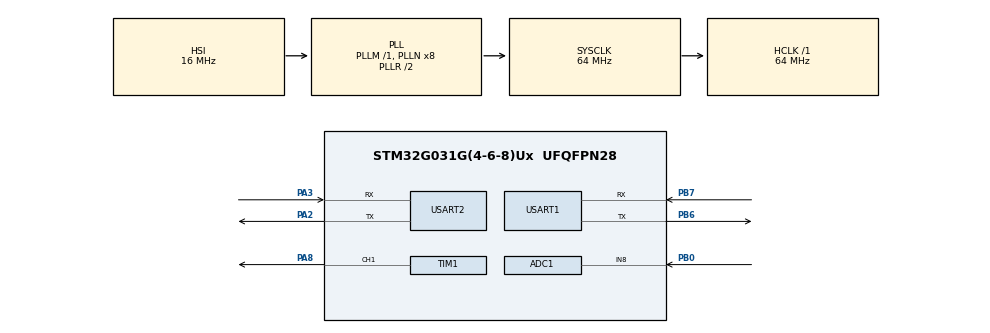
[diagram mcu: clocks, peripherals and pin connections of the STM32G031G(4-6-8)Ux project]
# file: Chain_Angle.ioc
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ADC1.Channel-0\#ChannelRegularConversion=ADC_CHANNEL_8
ADC1.ContinuousConvMode=ENABLE
ADC1.NbrOfConversion=1
ADC1.NbrOfConversionFlag=1
ADC1.Rank-0\#ChannelRegularConversion=1
ADC1.SamplingTime-0\#ChannelRegularConversion=ADC_SAMPLINGTIME_COMMON_1
ADC1.SamplingTimeCommon1=ADC_SAMPLETIME_39CYCLES_5
ADC1.SamplingTimeCommon2=ADC_SAMPLETIME_39CYCLES_5
ADC1.SelectedChannel=ADC_CHANNEL_8
ADC1.master=1
Dma.Request0=USART1_RX
Dma.Request1=USART1_TX
Dma.Request2=USART2_RX
Dma.Request3=USART2_TX
Dma.Request4=TIM1_CH1
Dma.TIM1_CH1.4.Direction=DMA_MEMORY_TO_PERIPH
Dma.TIM1_CH1.4.EventEnable=DISABLE
Dma.TIM1_CH1.4.Instance=DMA1_Channel5
Dma.TIM1_CH1.4.MemDataAlignment=DMA_MDATAALIGN_BYTE
Dma.TIM1_CH1.4.MemInc=DMA_MINC_ENABLE
Dma.TIM1_CH1.4.Mode=DMA_NORMAL
Dma.TIM1_CH1.4.PeriphDataAlignment=DMA_PDATAALIGN_HALFWORD
Dma.TIM1_CH1.4.PeriphInc=DMA_PINC_DISABLE
Dma.TIM1_CH1.4.Polarity=HAL_DMAMUX_REQ_GEN_RISING
Dma.TIM1_CH1.4.Priority=DMA_PRIORITY_LOW
Dma.TIM1_CH1.4.RequestNumber=1
Dma.TIM1_CH1.4.SignalID=NONE
Dma.TIM1_CH1.4.SyncEnable=DISABLE
Dma.TIM1_CH1.4.SyncPolarity=HAL_DMAMUX_SYNC_NO_EVENT
Dma.TIM1_CH1.4.SyncRequestNumber=1
Dma.TIM1_CH1.4.SyncSignalID=NONE
Dma.USART1_RX.0.Direction=DMA_PERIPH_TO_MEMORY
Dma.USART1_RX.0.EventEnable=DISABLE
Dma.USART1_RX.0.Instance=DMA1_Channel1
Dma.USART1_RX.0.MemDataAlignment=DMA_MDATAALIGN_BYTE
Dma.USART1_RX.0.MemInc=DMA_MINC_ENABLE
Dma.USART1_RX.0.Mode=DMA_NORMAL
Dma.USART1_RX.0.PeriphDataAlignment=DMA_PDATAALIGN_BYTE
Dma.USART1_RX.0.PeriphInc=DMA_PINC_DISABLE
Dma.USART1_RX.0.Polarity=HAL_DMAMUX_REQ_GEN_RISING
Dma.USART1_RX.0.Priority=DMA_PRIORITY_LOW
Dma.USART1_RX.0.RequestNumber=1
Dma.USART1_RX.0.SignalID=NONE
Dma.USART1_RX.0.SyncEnable=DISABLE
Dma.USART1_RX.0.SyncPolarity=HAL_DMAMUX_SYNC_NO_EVENT
Dma.USART1_RX.0.SyncRequestNumber=1
Dma.USART1_RX.0.SyncSignalID=NONE
Dma.USART1_TX.1.Direction=DMA_MEMORY_TO_PERIPH
Dma.USART1_TX.1.EventEnable=DISABLE
Dma.USART1_TX.1.Instance=DMA1_Channel2
Dma.USART1_TX.1.MemDataAlignment=DMA_MDATAALIGN_BYTE
Dma.USART1_TX.1.MemInc=DMA_MINC_ENABLE
Dma.USART1_TX.1.Mode=DMA_NORMAL
Dma.USART1_TX.1.PeriphDataAlignment=DMA_PDATAALIGN_BYTE
Dma.USART1_TX.1.PeriphInc=DMA_PINC_DISABLE
Dma.USART1_TX.1.Polarity=HAL_DMAMUX_REQ_GEN_RISING
Dma.USART1_TX.1.Priority=DMA_PRIORITY_LOW
Dma.USART1_TX.1.RequestNumber=1
Dma.USART1_TX.1.SignalID=NONE
Dma.USART1_TX.1.SyncEnable=DISABLE
Dma.USART1_TX.1.SyncPolarity=HAL_DMAMUX_SYNC_NO_EVENT
Dma.USART1_TX.1.SyncRequestNumber=1
Dma.USART1_TX.1.SyncSignalID=NONE
Dma.USART2_RX.2.Direction=DMA_PERIPH_TO_MEMORY
Dma.USART2_RX.2.EventEnable=DISABLE
Dma.USART2_RX.2.Instance=DMA1_Channel3
Dma.USART2_RX.2.MemDataAlignment=DMA_MDATAALIGN_BYTE
Dma.USART2_RX.2.MemInc=DMA_MINC_ENABLE
Dma.USART2_RX.2.Mode=DMA_NORMAL
Dma.USART2_RX.2.PeriphDataAlignment=DMA_PDATAALIGN_BYTE
Dma.USART2_RX.2.PeriphInc=DMA_PINC_DISABLE
Dma.USART2_RX.2.Polarity=HAL_DMAMUX_REQ_GEN_RISING
Dma.USART2_RX.2.Priority=DMA_PRIORITY_LOW
Dma.USART2_RX.2.RequestNumber=1
Dma.USART2_RX.2.SignalID=NONE
Dma.USART2_RX.2.SyncEnable=DISABLE
Dma.USART2_RX.2.SyncPolarity=HAL_DMAMUX_SYNC_NO_EVENT
Dma.USART2_RX.2.SyncRequestNumber=1
Dma.USART2_RX.2.SyncSignalID=NONE
Dma.USART2_TX.3.Direction=DMA_MEMORY_TO_PERIPH
Dma.USART2_TX.3.EventEnable=DISABLE
Dma.USART2_TX.3.Instance=DMA1_Channel4
Dma.USART2_TX.3.MemDataAlignment=DMA_MDATAALIGN_BYTE
Dma.USART2_TX.3.MemInc=DMA_MINC_ENABLE
Dma.USART2_TX.3.Mode=DMA_NORMAL
Dma.USART2_TX.3.PeriphDataAlignment=DMA_PDATAALIGN_BYTE
Dma.USART2_TX.3.PeriphInc=DMA_PINC_DISABLE
Dma.USART2_TX.3.Polarity=HAL_DMAMUX_REQ_GEN_RISING
Dma.USART2_TX.3.Priority=DMA_PRIORITY_LOW
Dma.USART2_TX.3.RequestNumber=1
Dma.USART2_TX.3.SignalID=NONE
Dma.USART2_TX.3.SyncEnable=DISABLE
Dma.USART2_TX.3.SyncPolarity=HAL_DMAMUX_SYNC_NO_EVENT
Dma.USART2_TX.3.SyncRequestNumber=1
Dma.USART2_TX.3.SyncSignalID=NONE
IWDG.Prescaler=IWDG_PRESCALER_16
Mcu.Family=STM32G0
Mcu.Name=STM32G031G(4-6-8)Ux
Mcu.Package=UFQFPN28
NVIC.DMA1_Ch4_5_DMAMUX1_OVR_IRQn=true\:1\:0\:true\:false\:true\:false\:true\:true
NVIC.DMA1_Channel1_IRQn=true\:1\:0\:true\:false\:true\:false\:true\:true
NVIC.DMA1_Channel2_3_IRQn=true\:1\:0\:true\:false\:true\:false\:true\:true
NVIC.FLASH_IRQn=true\:1\:0\:true\:false\:true\:true\:true\:true
NVIC.TIM14_IRQn=true\:1\:0\:true\:false\:true\:true\:true\:true
NVIC.TIM16_IRQn=true\:1\:0\:true\:false\:true\:true\:true\:true
NVIC.TIM17_IRQn=true\:1\:0\:true\:false\:true\:true\:true\:true
NVIC.USART1_IRQn=true\:0\:0\:false\:false\:true\:false\:true\:true
NVIC.USART2_IRQn=true\:0\:0\:false\:false\:true\:false\:true\:true
PA2.GPIO_PuPd=GPIO_PULLUP
PA2.GPIO_Speed=GPIO_SPEED_FREQ_HIGH
PA2.Mode=Asynchronous
PA2.PinState=GPIO_PIN_RESET
PA2.Signal=USART2_TX
PA3.GPIO_PuPd=GPIO_PULLUP
PA3.GPIO_Speed=GPIO_SPEED_FREQ_HIGH
PA3.Mode=Asynchronous
PA3.PinState=GPIO_PIN_RESET
PA3.Signal=USART2_RX
PA8.Signal=S_TIM1_CH1
PB0.Mode=IN8
PB0.Signal=ADC1_IN8
PB6.GPIO_PuPd=GPIO_PULLUP
PB6.GPIO_Speed=GPIO_SPEED_FREQ_HIGH
PB6.Mode=Asynchronous
PB6.Signal=USART1_TX
PB7.GPIO_PuPd=GPIO_PULLUP
PB7.GPIO_Speed=GPIO_SPEED_FREQ_HIGH
PB7.Mode=Asynchronous
PB7.Signal=USART1_RX
ProjectManager.HeapSize=0x200
ProjectManager.StackSize=0x400
ProjectManager.TargetToolchain=STM32CubeIDE
RCC.ADCFreq_Value=64000000
RCC.AHBFreq_Value=64000000
RCC.CortexFreq_Value=64000000
RCC.EXTERNAL_CLOCK_VALUE=12288000
RCC.HCLKFreq_Value=64000000
RCC.HSE_VALUE=8000000
RCC.HSI_VALUE=16000000
RCC.LSE_VALUE=32768
RCC.PLLQ=RCC_PLLQ_DIV4
RCC.SYSCLKFreq_VALUE=64000000
RCC.SYSCLKSource=RCC_SYSCLKSOURCE_PLLCLK
RCC.VCOOutputFreq_Value=128000000
SH.S_TIM1_CH1.0=TIM1_CH1,PWM Generation1 CH1
TIM1.Channel-PWM\ Generation1\ CH1=TIM_CHANNEL_1
TIM1.Period=79
TIM14.AutoReloadPreload=TIM_AUTORELOAD_PRELOAD_ENABLE
TIM14.Period=1699
TIM14.Prescaler=6399
TIM16.Period=29999
TIM16.Prescaler=6399
TIM17.Period=9999
TIM17.Prescaler=6399
USART1.VirtualMode-Asynchronous=VM_ASYNC
USART2.VirtualMode-Asynchronous=VM_ASYNC
VP_IWDG_VS_IWDG.Mode=IWDG_Activate
VP_TIM14_VS_ClockSourceINT.Mode=Enable_Timer
VP_TIM16_VS_ClockSourceINT.Mode=Enable_Timer
VP_TIM17_VS_ClockSourceINT.Mode=Enable_Timer
VP_TIM1_VS_ClockSourceINT.Mode=Internal
board=custom

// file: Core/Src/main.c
/* USER CODE BEGIN Header */
/**
 ******************************************************************************
 * @file           : main.c
 * @brief          : Main program body
 ******************************************************************************
 * @attention
 *
 * Copyright (c) 2024 STMicroelectronics.
 * All rights reserved.
 *
 * This software is licensed under terms that can be found in the LICENSE file
 * in the root directory of this software component.
 * If no LICENSE file comes with this software, it is provided AS-IS.
 *
 ******************************************************************************
 */
/* USER CODE END Header */
#include "main.h"
#include "adc.h"
#include "dma.h"
#include "iwdg.h"
#include "tim.h"
#include "usart.h"
#include "gpio.h"

/* USER CODE BEGIN Includes */
#include "RGB.h"
#include "myflash.h"
#include "angle_function.h"
#include "base_function.h"
/* USER CODE END Includes */

/* USER CODE BEGIN PV */
// DMA receive buffers
__IO uint8_t g_uart_in_rx_buf[UART_BUFFER_SIZE][BUFFER_SIZE * 2];   // uart_in
                                                                    // receive
                                                                    // buffer for
                                                                    // DMA
__IO uint8_t g_uart_out_rx_buf[UART_BUFFER_SIZE][BUFFER_SIZE * 2];  // uart_out
                                                                    // receive
                                                                    // buffer for
                                                                    // DMA

// Transmission status for UART
__IO uint8_t g_uart_in_rx_index  = 0;  // Index for UART input (receiving) buffer position
__IO uint8_t g_uart_out_rx_index = 0;  // Index for UART output (receiving) buffer position

// Transmission complete flags for UART
__IO uint8_t g_uart_in_transmit_complete  = 1;  // Flag indicating if uart_in transmission is complete (1: complete)
__IO uint8_t g_uart_out_transmit_complete = 1;  // Flag indicating if uart_out transmission is complete (1: complete)

// Command buffer and related variables
__IO uint8_t g_cmd_buf[BUFFER_SIZE] = {0};                    // Command buffer initialized to zero
__IO uint8_t g_cmd_size             = 0;                      // Size of the command currently in the buffer
__IO uint8_t g_cmd_status           = CMD_SPACE_IDLE_STATUS;  // Status of the command processing

// Device status variables
__IO uint8_t g_tail_status        = CHAIN_TAIL_DEVICE;  // Status of the tail device in the chain
__IO uint8_t g_heart_beat_record  = 0;                  // Heartbeat record for monitoring device status
__IO uint8_t g_bootloader_version = 0;                  // Version of the bootloader
__IO uint8_t g_firmware_version   = SOFTWARE_VERSION;   // Version of the firmware

// Device type information
__IO uint16_t g_device_type =
    (uint8_t)((PRODUCT_TYPE_HIGH << 8) | PRODUCT_TYPE_LOW);  // Combined product type from high and low bytes
__IO uint8_t g_light = 0;                                    // Light status or value

uint8_t g_clockwise_status = 0;  // Status indicating the direction of rotation
                                 // (0: counter-clockwise, 1: clockwise)

__IO uint8_t g_uid[12] = {0};  // Unique identifier

/* USER CODE END PV */

void SystemClock_Config(void);

/* USER CODE BEGIN 0 */
/**
 * @brief Set the Interrupt Vector Table for the application in SRAM.
 * @param None
 * @retval None
 */
void iap_set(void)
{
    uint8_t i;                                     // Loop index
    uint32_t *pVecTab = (uint32_t *)(0x20000000);  // Pointer to the vector table in SRAM

    // Copy the interrupt vector table from the application address to SRAM
    for (i = 0; i < 48; i++) {
        // Copy each vector entry to the SRAM vector table
        *(pVecTab++) = *(__IO uint32_t *)(APPLICATION_ADDRESS + (i << 2));
    }

    // Enable the SYSCFG peripheral clock
    __HAL_RCC_SYSCFG_CLK_ENABLE();

    // Remap the memory to use SRAM for the vector table
    __HAL_SYSCFG_REMAPMEMORY_SRAM();
}

/**
 * @brief Initialize the chain device settings.
 * @param None
 * @retval None
 */
void chain_init(void)
{
    // Retrieve bootloader version number
    g_bootloader_version = get_bootloader_version();

    // Check the clockwise status
    if (get_clockwise_status() == 0xFF) {                // If the status is not set
        g_clockwise_status = CHAIN_ANGLE_CLOCKWISE_INC;  // Set to default clockwise increment value
        set_clockwise_status(g_clockwise_status);        // Update the status in the system
    } else {
        g_clockwise_status = get_clockwise_status();  // Retrieve the current clockwise status
    }

    // Check the RGB light status
    if (get_rgb_light() == 0xFF) {  // If the RGB light status is not set
        g_light = RGB_LIGHT_BASE;   // Set to the base light value
        set_rgb_light(g_light);     // Update the light status in the system
    } else {
        g_light = get_rgb_light();  // Retrieve the current RGB light status
    }
}

void read_uid(void)
{
    uint32_t uid0 = HAL_GetUIDw0();
    uint32_t uid1 = HAL_GetUIDw1();
    uint32_t uid2 = HAL_GetUIDw2();

    memcpy(&g_uid[0], &uid0, 4);
    memcpy(&g_uid[4], &uid1, 4);
    memcpy(&g_uid[8], &uid2, 4);
}

/* USER CODE END 0 */

int main(void)
{
    /* USER CODE BEGIN 1 */
    iap_set();
    chain_init();
    read_uid();
    /* USER CODE END 1 */

    /* MCU Configuration--------------------------------------------------------*/

    /* Reset of all peripherals, Initializes the Flash interface and the Systick.
     */
    HAL_Init();

    /* Configure the system clock */
    SystemClock_Config();

    /* Initialize all configured peripherals */
    MX_GPIO_Init();
    MX_DMA_Init();
    MX_USART1_UART_Init();
    MX_USART2_UART_Init();
    MX_IWDG_Init();
    MX_TIM14_Init();
    MX_TIM1_Init();
    MX_TIM16_Init();
    MX_ADC1_Init();
    MX_TIM17_Init();
    /* USER CODE BEGIN 2 */
    rgb_init();
    HAL_ADCEx_Calibration_Start(&hadc1);
    HAL_Delay(1);
    LL_TIM_ClearFlag_UPDATE(TIM14);  // Clear update TIM14
    LL_TIM_EnableIT_UPDATE(TIM14);   // ENABLE TIM14
    LL_TIM_EnableCounter(TIM14);     // ENABLE TIM14
    HAL_Delay(1);
    LL_TIM_ClearFlag_UPDATE(TIM17);  // Clear update TIM17
    LL_TIM_EnableIT_UPDATE(TIM17);   // ENABLE TIM17
    LL_TIM_EnableCounter(TIM17);     // ENABLE TIM17
    HAL_Delay(1);
    LL_TIM_ClearFlag_UPDATE(TIM16);  // Clear update TIM16
    LL_TIM_EnableIT_UPDATE(TIM16);   // ENABLE TIM16
    LL_TIM_EnableCounter(TIM16);     // ENABLE TIM16
    HAL_Delay(1);
    /* USER CODE END 2 */

    /* Infinite loop */
    /* USER CODE BEGIN WHILE */
    while (1) {
        if (g_cmd_status == CMD_SPACE_BUSY_STATUS) {
            switch (g_cmd_buf[0]) {
                case CHAIN_ANGLE_GET_8ADC:
                    chain_angle_get_8value();
                    break;
                case CHAIN_ANGLE_GET_12ADC:
                    chain_angle_get_12value();
                    break;
                case CHAIN_ANGLE_SET_CLOCKWISE_STATUS:
                    chain_angle_set_clockwise(g_cmd_buf[1], g_cmd_buf[2]);
                    break;
                case CHAIN_ANGLE_GET_CLOCKWISE_STATUS:
                    chain_angle_get_clockwise();
                    break;
                case CHAIN_SET_RGB_VALUE:
                    chain_set_rgb_value((uint8_t *)(g_cmd_buf + 1), (g_cmd_size - 1));
                    break;
                case CHAIN_GET_RGB_VALUE:
                    chain_get_rgb_value((uint8_t *)(g_cmd_buf + 1), (g_cmd_size - 1));
                    break;
                case CHAIN_SET_RGB_LIGHT:
                    chain_set_light_value(g_cmd_buf[1], g_cmd_buf[2]);
                    break;
                case CHAIN_GET_RGB_LIGHT:
                    chain_get_light_value();
                    break;
                case CHAIN_GET_UID:
                    chain_get_uid_handle(g_cmd_buf[1]);
                    break;
                case CHAIN_GET_BOOTLOADER_VERSION:
                    chain_get_bootloader_version_handle();
                    break;
                case CHAIN_GET_VERSION_DEVICE:
                    chain_get_firmware_version_handle();
                    break;
                case CHAIN_GET_DEVICE_TYPE:
                    chain_get_device_type_handle();
                    break;
                case CHAIN_IAP_UPDATE:
                    chain_iap_update_handle(g_cmd_buf[1]);
                    break;
                default:
                    break;
            }
            g_cmd_status = CMD_SPACE_IDLE_STATUS;
        }
        /* USER CODE END WHILE */

        /* USER CODE BEGIN 3 */
        rgb_update();
        adc_value_update();
        LL_IWDG_ReloadCounter(IWDG);
    }
    /* USER CODE END 3 */
}

void SystemClock_Config(void)
{
    RCC_OscInitTypeDef RCC_OscInitStruct = {0};
    RCC_ClkInitTypeDef RCC_ClkInitStruct = {0};

    /** Configure the main internal regulator output voltage
     */
    HAL_PWREx_ControlVoltageScaling(PWR_REGULATOR_VOLTAGE_SCALE1);

    /** Initializes the RCC Oscillators according to the specified parameters
     * in the RCC_OscInitTypeDef structure.
     */
    RCC_OscInitStruct.OscillatorType      = RCC_OSCILLATORTYPE_HSI | RCC_OSCILLATORTYPE_LSI;
    RCC_OscInitStruct.HSIState            = RCC_HSI_ON;
    RCC_OscInitStruct.HSIDiv              = RCC_HSI_DIV1;
    RCC_OscInitStruct.HSICalibrationValue = RCC_HSICALIBRATION_DEFAULT;
    RCC_OscInitStruct.LSIState            = RCC_LSI_ON;
    RCC_OscInitStruct.PLL.PLLState        = RCC_PLL_ON;
    RCC_OscInitStruct.PLL.PLLSource       = RCC_PLLSOURCE_HSI;
    RCC_OscInitStruct.PLL.PLLM            = RCC_PLLM_DIV1;
    RCC_OscInitStruct.PLL.PLLN            = 8;
    RCC_OscInitStruct.PLL.PLLP            = RCC_PLLP_DIV2;
    RCC_OscInitStruct.PLL.PLLQ            = RCC_PLLQ_DIV4;
    RCC_OscInitStruct.PLL.PLLR            = RCC_PLLR_DIV2;
    if (HAL_RCC_OscConfig(&RCC_OscInitStruct) != HAL_OK) {
        Error_Handler();
    }

    /** Initializes the CPU, AHB and APB buses clocks
     */
    RCC_ClkInitStruct.ClockType      = RCC_CLOCKTYPE_HCLK | RCC_CLOCKTYPE_SYSCLK | RCC_CLOCKTYPE_PCLK1;
    RCC_ClkInitStruct.SYSCLKSource   = RCC_SYSCLKSOURCE_PLLCLK;
    RCC_ClkInitStruct.AHBCLKDivider  = RCC_SYSCLK_DIV1;
    RCC_ClkInitStruct.APB1CLKDivider = RCC_HCLK_DIV1;

    if (HAL_RCC_ClockConfig(&RCC_ClkInitStruct, FLASH_LATENCY_2) != HAL_OK) {
        Error_Handler();
    }
}

void Error_Handler(void)
{
    __disable_irq();
    while (1) {
    }
}

#ifdef USE_FULL_ASSERT
/**
 * @brief  Reports the name of the source file and the source line number
 *         where the assert_param error has occurred.
 * @param  file: pointer to the source file name
 * @param  line: assert_param error line source number
 * @retval None
 */
void assert_failed(uint8_t *file, uint32_t line)
{
    /* USER CODE BEGIN 6 */
    /* User can add his own implementation to report the file name and line
       number,
       ex: printf("Wrong parameters value: file %s on line %d\r\n", file, line) */
    /* USER CODE END 6 */
}
#endif /* USE_FULL_ASSERT */
